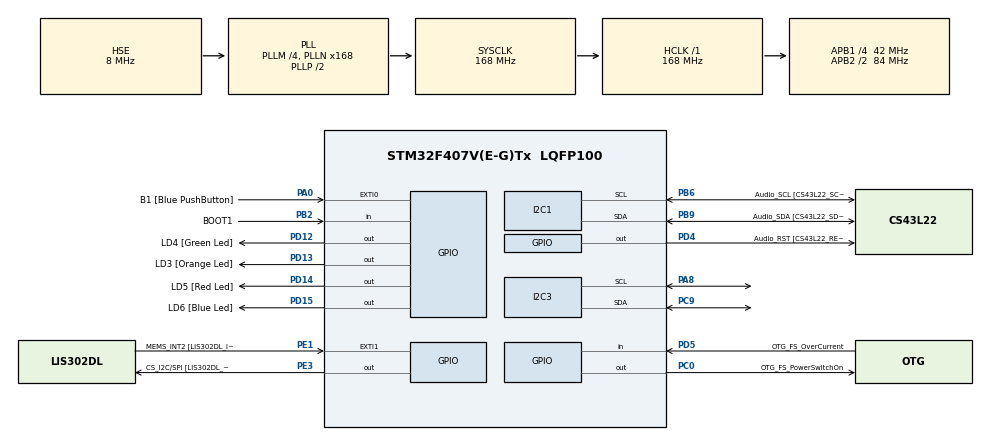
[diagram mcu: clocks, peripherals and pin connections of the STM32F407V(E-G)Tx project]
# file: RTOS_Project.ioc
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FREERTOS.Tasks01=readSensor,-2,1024,initSensorRead,Default,NULL,Dynamic,NULL,NULL;writeDisplay,-2,512,initDisplayWrite,Default,NULL,Dynamic,NULL,NULL
FREERTOS.configUSE_NEWLIB_REENTRANT=1
Mcu.Family=STM32F4
Mcu.Name=STM32F407V(E-G)Tx
Mcu.Package=LQFP100
NVIC.PriorityGroup=NVIC_PRIORITYGROUP_4
NVIC.TIM1_UP_TIM10_IRQn=true\:15\:0\:false\:false\:true\:false\:false\:true\:true
NVIC.TimeBase=TIM1_UP_TIM10_IRQn
NVIC.TimeBaseIP=TIM1
PA0-WKUP.GPIO_Label=B1 [Blue PushButton]
PA0-WKUP.Signal=GPXTI0
PA10.GPIO_Label=OTG_FS_ID
PA10.GPIO_Mode=GPIO_MODE_AF_PP
PA10.GPIO_PuPd=GPIO_NOPULL
PA10.GPIO_Speed=GPIO_SPEED_FREQ_LOW
PA10.Signal=USB_OTG_FS_ID
PA11.GPIO_Label=OTG_FS_DM
PA11.GPIO_Mode=GPIO_MODE_AF_PP
PA11.GPIO_PuPd=GPIO_NOPULL
PA11.GPIO_Speed=GPIO_SPEED_FREQ_LOW
PA11.Signal=USB_OTG_FS_DM
PA12.GPIO_Label=OTG_FS_DP
PA12.GPIO_Mode=GPIO_MODE_AF_PP
PA12.GPIO_PuPd=GPIO_NOPULL
PA12.GPIO_Speed=GPIO_SPEED_FREQ_LOW
PA12.Signal=USB_OTG_FS_DP
PA13.GPIO_Label=SWDIO
PA13.Signal=SYS_JTMS-SWDIO
PA14.GPIO_Label=SWCLK
PA14.Signal=SYS_JTCK-SWCLK
PA4.GPIO_Label=I2S3_WS [CS43L22_LRCK]
PA4.GPIO_Mode=GPIO_MODE_AF_PP
PA4.GPIO_PuPd=GPIO_NOPULL
PA4.GPIO_Speed=GPIO_SPEED_FREQ_LOW
PA4.Signal=I2S3_WS
PA5.GPIO_Label=SPI1_SCK [LIS302DL_SCL/SPC]
PA5.GPIO_Mode=GPIO_MODE_AF_PP
PA5.GPIO_PuPd=GPIO_NOPULL
PA5.GPIO_Speed=GPIO_SPEED_FREQ_LOW
PA5.Signal=SPI1_SCK
PA6.GPIO_Label=SPI1_MISO [LIS302DL_SDO]
PA6.GPIO_Mode=GPIO_MODE_AF_PP
PA6.GPIO_PuPd=GPIO_NOPULL
PA6.GPIO_Speed=GPIO_SPEED_FREQ_LOW
PA6.Signal=SPI1_MISO
PA7.GPIO_Label=SPI1_MOSI [LIS302DL_SDA/SDI/SDO]
PA7.GPIO_Mode=GPIO_MODE_AF_PP
PA7.GPIO_PuPd=GPIO_NOPULL
PA7.GPIO_Speed=GPIO_SPEED_FREQ_LOW
PA7.Signal=SPI1_MOSI
PA8.GPIO_Pu=GPIO_PULLUP
PA8.GPIO_Speed=GPIO_SPEED_FREQ_LOW
PA8.Mode=I2C
PA8.Signal=I2C3_SCL
PB10.GPIO_Label=CLK_IN [MP45DT02_CLK]
PB10.GPIO_Mode=GPIO_MODE_AF_PP
PB10.GPIO_PuPd=GPIO_NOPULL
PB10.GPIO_Speed=GPIO_SPEED_FREQ_LOW
PB10.Signal=I2S2_CK
PB2.GPIO_Label=BOOT1
PB2.GPIO_Mode=GPIO_MODE_INPUT
PB2.GPIO_PuPd=GPIO_NOPULL
PB2.Signal=GPIO_Input
PB3.GPIO_Label=SWO
PB3.Signal=SYS_JTDO-SWO
PB6.GPIO_Label=Audio_SCL [CS43L22_SCL]
PB6.GPIO_Mode=GPIO_MODE_AF_OD
PB6.GPIO_Pu=GPIO_PULLUP
PB6.GPIO_PuPd=GPIO_NOPULL
PB6.GPIO_Speed=GPIO_SPEED_FREQ_LOW
PB6.Mode=I2C
PB6.Signal=I2C1_SCL
PB9.GPIO_Label=Audio_SDA [CS43L22_SDA]
PB9.GPIO_Mode=GPIO_MODE_AF_OD
PB9.GPIO_Pu=GPIO_PULLUP
PB9.GPIO_PuPd=GPIO_NOPULL
PB9.GPIO_Speed=GPIO_SPEED_FREQ_LOW
PB9.Mode=I2C
PB9.Signal=I2C1_SDA
PC0.GPIO_Label=OTG_FS_PowerSwitchOn
PC0.GPIO_PuPd=GPIO_NOPULL
PC0.GPIO_Speed=GPIO_SPEED_FREQ_LOW
PC0.PinState=GPIO_PIN_SET
PC0.Signal=GPIO_Output
PC10.GPIO_Label=I2S3_SCK [CS43L22_SCLK]
PC10.GPIO_Mode=GPIO_MODE_AF_PP
PC10.GPIO_PuPd=GPIO_NOPULL
PC10.GPIO_Speed=GPIO_SPEED_FREQ_LOW
PC10.Signal=I2S3_CK
PC12.GPIO_Label=I2S3_SD [CS43L22_SDIN]
PC12.GPIO_Mode=GPIO_MODE_AF_PP
PC12.GPIO_PuPd=GPIO_NOPULL
PC12.GPIO_Speed=GPIO_SPEED_FREQ_LOW
PC12.Signal=I2S3_SD
PC14-OSC32_IN.GPIO_Label=PC14-OSC32_IN
PC14-OSC32_IN.Signal=RCC_OSC32_IN
PC15-OSC32_OUT.GPIO_Label=PC15-OSC32_OUT
PC15-OSC32_OUT.Signal=RCC_OSC32_OUT
PC3.GPIO_Label=PDM_OUT [MP45DT02_DOUT]
PC3.GPIO_Mode=GPIO_MODE_AF_PP
PC3.GPIO_PuPd=GPIO_NOPULL
PC3.GPIO_Speed=GPIO_SPEED_FREQ_LOW
PC3.Signal=I2S2_SD
PC7.GPIO_Label=I2S3_MCK [CS43L22_MCLK]
PC7.GPIO_Mode=GPIO_MODE_AF_PP
PC7.GPIO_PuPd=GPIO_NOPULL
PC7.GPIO_Speed=GPIO_SPEED_FREQ_LOW
PC7.Signal=I2S3_MCK
PC9.GPIO_Pu=GPIO_PULLUP
PC9.GPIO_Speed=GPIO_SPEED_FREQ_LOW
PC9.Mode=I2C
PC9.Signal=I2C3_SDA
PD12.GPIO_Label=LD4 [Green Led]
PD12.GPIO_PuPd=GPIO_NOPULL
PD12.GPIO_Speed=GPIO_SPEED_FREQ_LOW
PD12.Signal=GPIO_Output
PD13.GPIO_Label=LD3 [Orange Led]
PD13.GPIO_PuPd=GPIO_NOPULL
PD13.GPIO_Speed=GPIO_SPEED_FREQ_LOW
PD13.Signal=GPIO_Output
PD14.GPIO_Label=LD5 [Red Led]
PD14.GPIO_PuPd=GPIO_NOPULL
PD14.GPIO_Speed=GPIO_SPEED_FREQ_LOW
PD14.Signal=GPIO_Output
PD15.GPIO_Label=LD6 [Blue Led]
PD15.GPIO_PuPd=GPIO_NOPULL
PD15.GPIO_Speed=GPIO_SPEED_FREQ_LOW
PD15.Signal=GPIO_Output
PD4.GPIO_Label=Audio_RST [CS43L22_RESET]
PD4.GPIO_PuPd=GPIO_NOPULL
PD4.GPIO_Speed=GPIO_SPEED_FREQ_LOW
PD4.Signal=GPIO_Output
PD5.GPIO_Label=OTG_FS_OverCurrent
PD5.GPIO_Mode=GPIO_MODE_INPUT
PD5.GPIO_PuPd=GPIO_NOPULL
PD5.Signal=GPIO_Input
PE1.GPIO_Label=MEMS_INT2 [LIS302DL_INT2]
PE1.GPIO_ModeDefaultEXTI=GPIO_MODE_EVT_RISING
PE1.GPIO_PuPd=GPIO_NOPULL
PE1.Signal=GPXTI1
PE3.GPIO_Label=CS_I2C/SPI [LIS302DL_CS_I2C/SPI]
PE3.GPIO_PuPd=GPIO_NOPULL
PE3.GPIO_Speed=GPIO_SPEED_FREQ_LOW
PE3.Signal=GPIO_Output
PH0-OSC_IN.GPIO_Label=PH0-OSC_IN
PH0-OSC_IN.Mode=HSE-External-Oscillator
PH0-OSC_IN.Signal=RCC_OSC_IN
PH1-OSC_OUT.GPIO_Label=PH1-OSC_OUT
PH1-OSC_OUT.Mode=HSE-External-Oscillator
PH1-OSC_OUT.Signal=RCC_OSC_OUT
ProjectManager.HeapSize=0x200
ProjectManager.StackSize=0x400
ProjectManager.TargetToolchain=STM32CubeIDE
RCC.48MHZClocksFreq_Value=48000000
RCC.AHBFreq_Value=168000000
RCC.APB1CLKDivider=RCC_HCLK_DIV4
RCC.APB1Freq_Value=42000000
RCC.APB1TimFreq_Value=84000000
RCC.APB2CLKDivider=RCC_HCLK_DIV2
RCC.APB2Freq_Value=84000000
RCC.APB2TimFreq_Value=168000000
RCC.CortexFreq_Value=168000000
RCC.HCLKFreq_Value=168000000
RCC.HSE_VALUE=8000000
RCC.HSI_VALUE=16000000
RCC.LSE_VALUE=32768
RCC.PLLM=4
RCC.PLLN=168
RCC.PLLQ=7
RCC.PLLSourceVirtual=RCC_PLLSOURCE_HSE
RCC.SYSCLKFreq_VALUE=168000000
RCC.SYSCLKSource=RCC_SYSCLKSOURCE_PLLCLK
RCC.VCOOutputFreq_Value=336000000
VP_FREERTOS_VS_CMSIS_V1.Mode=CMSIS_V1
VP_SYS_VS_tim1.Mode=TIM1
board=STM32F407G-DISC1

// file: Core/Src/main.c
/* USER CODE BEGIN Header */
/**
  ******************************************************************************
  * @file           : main.c
  * @brief          : Main program body
  ******************************************************************************
  * @attention
  *
  * Copyright (c) 2023 STMicroelectronics.
  * All rights reserved.
  *
  * This software is licensed under terms that can be found in the LICENSE file
  * in the root directory of this software component.
  * If no LICENSE file comes with this software, it is provided AS-IS.
  *
  ******************************************************************************
  */
/* USER CODE END Header */
#include "main.h"
#include "cmsis_os.h"
#include <stdio.h>
#include "liquidcrystal_i2c.h"

/* USER CODE BEGIN PD */
#define displayAddress 0x4e
#define LM75_ADDR 0x48
#define LM75_REG_CONF 0x01
#define LM75_REG_TEMP 0x00
/* USER CODE END PD */

I2C_HandleTypeDef hi2c1;
I2C_HandleTypeDef hi2c3;

osThreadId readSensorHandle;
osThreadId writeDisplayHandle;
/* USER CODE BEGIN PV */
uint8_t i2cDataBuffer[12];
char display[32];
int16_t temp;
/* USER CODE END PV */

void SystemClock_Config(void);
static void MX_GPIO_Init(void);
static void MX_I2C1_Init(void);
static void MX_I2C3_Init(void);
void initSensorRead(void const * argument);
void initDisplayWrite(void const * argument);

int main(void)
{

  /* MCU Configuration--------------------------------------------------------*/

  /* Reset of all peripherals, Initializes the Flash interface and the Systick. */
  HAL_Init();

  /* Configure the system clock */
  SystemClock_Config();

  /* Initialize all configured peripherals */
  MX_GPIO_Init();
  MX_I2C1_Init();
  MX_I2C3_Init();

  /* Create the thread(s) */
  /* definition and creation of readSensor */
  osThreadDef(readSensor, initSensorRead, osPriorityLow, 0, 1024);
  readSensorHandle = osThreadCreate(osThread(readSensor), NULL);

  /* definition and creation of writeDisplay */
  osThreadDef(writeDisplay, initDisplayWrite, osPriorityLow, 0, 512);
  writeDisplayHandle = osThreadCreate(osThread(writeDisplay), NULL);

  /* Start scheduler */
  osKernelStart();

  /* We should never get here as control is now taken by the scheduler */
  /* Infinite loop */
  while (1)
  {

  }
}

void SystemClock_Config(void)
{
  RCC_OscInitTypeDef RCC_OscInitStruct = {0};
  RCC_ClkInitTypeDef RCC_ClkInitStruct = {0};

  /** Configure the main internal regulator output voltage
  */
  __HAL_RCC_PWR_CLK_ENABLE();
  __HAL_PWR_VOLTAGESCALING_CONFIG(PWR_REGULATOR_VOLTAGE_SCALE1);

  /** Initializes the RCC Oscillators according to the specified parameters
  * in the RCC_OscInitTypeDef structure.
  */
  RCC_OscInitStruct.OscillatorType = RCC_OSCILLATORTYPE_HSE;
  RCC_OscInitStruct.HSEState = RCC_HSE_ON;
  RCC_OscInitStruct.PLL.PLLState = RCC_PLL_ON;
  RCC_OscInitStruct.PLL.PLLSource = RCC_PLLSOURCE_HSE;
  RCC_OscInitStruct.PLL.PLLM = 4;
  RCC_OscInitStruct.PLL.PLLN = 168;
  RCC_OscInitStruct.PLL.PLLP = RCC_PLLP_DIV2;
  RCC_OscInitStruct.PLL.PLLQ = 7;
  if (HAL_RCC_OscConfig(&RCC_OscInitStruct) != HAL_OK)
  {
    Error_Handler();
  }

  /** Initializes the CPU, AHB and APB buses clocks
  */
  RCC_ClkInitStruct.ClockType = RCC_CLOCKTYPE_HCLK|RCC_CLOCKTYPE_SYSCLK
                              |RCC_CLOCKTYPE_PCLK1|RCC_CLOCKTYPE_PCLK2;
  RCC_ClkInitStruct.SYSCLKSource = RCC_SYSCLKSOURCE_PLLCLK;
  RCC_ClkInitStruct.AHBCLKDivider = RCC_SYSCLK_DIV1;
  RCC_ClkInitStruct.APB1CLKDivider = RCC_HCLK_DIV4;
  RCC_ClkInitStruct.APB2CLKDivider = RCC_HCLK_DIV2;

  if (HAL_RCC_ClockConfig(&RCC_ClkInitStruct, FLASH_LATENCY_5) != HAL_OK)
  {
    Error_Handler();
  }
}

static void MX_I2C1_Init(void)
{

  hi2c1.Instance = I2C1;
  hi2c1.Init.ClockSpeed = 100000;
  hi2c1.Init.DutyCycle = I2C_DUTYCYCLE_2;
  hi2c1.Init.OwnAddress1 = 0;
  hi2c1.Init.AddressingMode = I2C_ADDRESSINGMODE_7BIT;
  hi2c1.Init.DualAddressMode = I2C_DUALADDRESS_DISABLE;
  hi2c1.Init.OwnAddress2 = 0;
  hi2c1.Init.GeneralCallMode = I2C_GENERALCALL_DISABLE;
  hi2c1.Init.NoStretchMode = I2C_NOSTRETCH_DISABLE;
  if (HAL_I2C_Init(&hi2c1) != HAL_OK)
  {
    Error_Handler();
  }

}

static void MX_I2C3_Init(void)
{

  hi2c3.Instance = I2C3;
  hi2c3.Init.ClockSpeed = 100000;
  hi2c3.Init.DutyCycle = I2C_DUTYCYCLE_2;
  hi2c3.Init.OwnAddress1 = 0;
  hi2c3.Init.AddressingMode = I2C_ADDRESSINGMODE_7BIT;
  hi2c3.Init.DualAddressMode = I2C_DUALADDRESS_DISABLE;
  hi2c3.Init.OwnAddress2 = 0;
  hi2c3.Init.GeneralCallMode = I2C_GENERALCALL_DISABLE;
  hi2c3.Init.NoStretchMode = I2C_NOSTRETCH_DISABLE;
  if (HAL_I2C_Init(&hi2c3) != HAL_OK)
  {
    Error_Handler();
  }

}

static void MX_GPIO_Init(void)
{
  GPIO_InitTypeDef GPIO_InitStruct = {0};

  /* GPIO Ports Clock Enable */
  __HAL_RCC_GPIOE_CLK_ENABLE();
  __HAL_RCC_GPIOC_CLK_ENABLE();
  __HAL_RCC_GPIOH_CLK_ENABLE();
  __HAL_RCC_GPIOA_CLK_ENABLE();
  __HAL_RCC_GPIOB_CLK_ENABLE();
  __HAL_RCC_GPIOD_CLK_ENABLE();

  /*Configure GPIO pin Output Level */
  HAL_GPIO_WritePin(CS_I2C_SPI_GPIO_Port, CS_I2C_SPI_Pin, GPIO_PIN_RESET);

  /*Configure GPIO pin Output Level */
  HAL_GPIO_WritePin(OTG_FS_PowerSwitchOn_GPIO_Port, OTG_FS_PowerSwitchOn_Pin, GPIO_PIN_SET);

  /*Configure GPIO pin Output Level */
  HAL_GPIO_WritePin(GPIOD, LD4_Pin|LD3_Pin|LD5_Pin|LD6_Pin
                          |Audio_RST_Pin, GPIO_PIN_RESET);

  /*Configure GPIO pin : CS_I2C_SPI_Pin */
  GPIO_InitStruct.Pin = CS_I2C_SPI_Pin;
  GPIO_InitStruct.Mode = GPIO_MODE_OUTPUT_PP;
  GPIO_InitStruct.Pull = GPIO_NOPULL;
  GPIO_InitStruct.Speed = GPIO_SPEED_FREQ_LOW;
  HAL_GPIO_Init(CS_I2C_SPI_GPIO_Port, &GPIO_InitStruct);

  /*Configure GPIO pin : OTG_FS_PowerSwitchOn_Pin */
  GPIO_InitStruct.Pin = OTG_FS_PowerSwitchOn_Pin;
  GPIO_InitStruct.Mode = GPIO_MODE_OUTPUT_PP;
  GPIO_InitStruct.Pull = GPIO_NOPULL;
  GPIO_InitStruct.Speed = GPIO_SPEED_FREQ_LOW;
  HAL_GPIO_Init(OTG_FS_PowerSwitchOn_GPIO_Port, &GPIO_InitStruct);

  /*Configure GPIO pin : PDM_OUT_Pin */
  GPIO_InitStruct.Pin = PDM_OUT_Pin;
  GPIO_InitStruct.Mode = GPIO_MODE_AF_PP;
  GPIO_InitStruct.Pull = GPIO_NOPULL;
  GPIO_InitStruct.Speed = GPIO_SPEED_FREQ_LOW;
  GPIO_InitStruct.Alternate = GPIO_AF5_SPI2;
  HAL_GPIO_Init(PDM_OUT_GPIO_Port, &GPIO_InitStruct);

  /*Configure GPIO pin : B1_Pin */
  GPIO_InitStruct.Pin = B1_Pin;
  GPIO_InitStruct.Mode = GPIO_MODE_IT_RISING;
  GPIO_InitStruct.Pull = GPIO_NOPULL;
  HAL_GPIO_Init(B1_GPIO_Port, &GPIO_InitStruct);

  /*Configure GPIO pin : I2S3_WS_Pin */
  GPIO_InitStruct.Pin = I2S3_WS_Pin;
  GPIO_InitStruct.Mode = GPIO_MODE_AF_PP;
  GPIO_InitStruct.Pull = GPIO_NOPULL;
  GPIO_InitStruct.Speed = GPIO_SPEED_FREQ_LOW;
  GPIO_InitStruct.Alternate = GPIO_AF6_SPI3;
  HAL_GPIO_Init(I2S3_WS_GPIO_Port, &GPIO_InitStruct);

  /*Configure GPIO pins : SPI1_SCK_Pin SPI1_MISO_Pin SPI1_MOSI_Pin */
  GPIO_InitStruct.Pin = SPI1_SCK_Pin|SPI1_MISO_Pin|SPI1_MOSI_Pin;
  GPIO_InitStruct.Mode = GPIO_MODE_AF_PP;
  GPIO_InitStruct.Pull = GPIO_NOPULL;
  GPIO_InitStruct.Speed = GPIO_SPEED_FREQ_LOW;
  GPIO_InitStruct.Alternate = GPIO_AF5_SPI1;
  HAL_GPIO_Init(GPIOA, &GPIO_InitStruct);

  /*Configure GPIO pin : BOOT1_Pin */
  GPIO_InitStruct.Pin = BOOT1_Pin;
  GPIO_InitStruct.Mode = GPIO_MODE_INPUT;
  GPIO_InitStruct.Pull = GPIO_NOPULL;
  HAL_GPIO_Init(BOOT1_GPIO_Port, &GPIO_InitStruct);

  /*Configure GPIO pin : CLK_IN_Pin */
  GPIO_InitStruct.Pin = CLK_IN_Pin;
  GPIO_InitStruct.Mode = GPIO_MODE_AF_PP;
  GPIO_InitStruct.Pull = GPIO_NOPULL;
  GPIO_InitStruct.Speed = GPIO_SPEED_FREQ_LOW;
  GPIO_InitStruct.Alternate = GPIO_AF5_SPI2;
  HAL_GPIO_Init(CLK_IN_GPIO_Port, &GPIO_InitStruct);

  /*Configure GPIO pins : LD4_Pin LD3_Pin LD5_Pin LD6_Pin
                           Audio_RST_Pin */
  GPIO_InitStruct.Pin = LD4_Pin|LD3_Pin|LD5_Pin|LD6_Pin
                          |Audio_RST_Pin;
  GPIO_InitStruct.Mode = GPIO_MODE_OUTPUT_PP;
  GPIO_InitStruct.Pull = GPIO_NOPULL;
  GPIO_InitStruct.Speed = GPIO_SPEED_FREQ_LOW;
  HAL_GPIO_Init(GPIOD, &GPIO_InitStruct);

  /*Configure GPIO pins : I2S3_MCK_Pin I2S3_SCK_Pin I2S3_SD_Pin */
  GPIO_InitStruct.Pin = I2S3_MCK_Pin|I2S3_SCK_Pin|I2S3_SD_Pin;
  GPIO_InitStruct.Mode = GPIO_MODE_AF_PP;
  GPIO_InitStruct.Pull = GPIO_NOPULL;
  GPIO_InitStruct.Speed = GPIO_SPEED_FREQ_LOW;
  GPIO_InitStruct.Alternate = GPIO_AF6_SPI3;
  HAL_GPIO_Init(GPIOC, &GPIO_InitStruct);

  /*Configure GPIO pins : OTG_FS_ID_Pin OTG_FS_DM_Pin OTG_FS_DP_Pin */
  GPIO_InitStruct.Pin = OTG_FS_ID_Pin|OTG_FS_DM_Pin|OTG_FS_DP_Pin;
  GPIO_InitStruct.Mode = GPIO_MODE_AF_PP;
  GPIO_InitStruct.Pull = GPIO_NOPULL;
  GPIO_InitStruct.Speed = GPIO_SPEED_FREQ_LOW;
  GPIO_InitStruct.Alternate = GPIO_AF10_OTG_FS;
  HAL_GPIO_Init(GPIOA, &GPIO_InitStruct);

  /*Configure GPIO pin : OTG_FS_OverCurrent_Pin */
  GPIO_InitStruct.Pin = OTG_FS_OverCurrent_Pin;
  GPIO_InitStruct.Mode = GPIO_MODE_INPUT;
  GPIO_InitStruct.Pull = GPIO_NOPULL;
  HAL_GPIO_Init(OTG_FS_OverCurrent_GPIO_Port, &GPIO_InitStruct);

  /*Configure GPIO pin : MEMS_INT2_Pin */
  GPIO_InitStruct.Pin = MEMS_INT2_Pin;
  GPIO_InitStruct.Mode = GPIO_MODE_EVT_RISING;
  GPIO_InitStruct.Pull = GPIO_NOPULL;
  HAL_GPIO_Init(MEMS_INT2_GPIO_Port, &GPIO_InitStruct);

}

void initSensorRead(void const * argument)
{
  /* USER CODE BEGIN 5 */
  /* Infinite loop */
  for(;;)
  {
	HAL_GPIO_WritePin(GPIOD, GPIO_PIN_15, 0);
	HAL_GPIO_TogglePin(GPIOD, GPIO_PIN_14);
	i2cDataBuffer[0] = LM75_REG_TEMP;
	if(HAL_I2C_Master_Transmit(&hi2c3, ((uint8_t)LM75_ADDR)<<1, i2cDataBuffer, 1, HAL_MAX_DELAY) == HAL_OK){
		HAL_I2C_Master_Receive(&hi2c3, ((uint8_t)LM75_ADDR)<<1, i2cDataBuffer, 2, HAL_MAX_DELAY);
		int16_t *ptr = &temp;
		*ptr = ((i2cDataBuffer[0] << 8) | i2cDataBuffer[1]);
	}
	else
		HAL_GPIO_WritePin(GPIOD, GPIO_PIN_15, 1);
	osDelay(5000);
  }
  /* USER CODE END 5 */
}

void initDisplayWrite(void const * argument)
{
  /* USER CODE BEGIN initDisplayWrite */
  float tempCelsius;
  float tempFar;

  HD44780_Init(2);
  /* Infinite loop */
  for(;;)
  {
	  HAL_GPIO_TogglePin(GPIOD, GPIO_PIN_13);
	  display[0] = '\0';
	  tempCelsius = temp / 256.0;
	  tempFar = (temp/256.0)*(9.0/5.0)+32.0;

	  HD44780_Clear();
	  HD44780_SetCursor(0,0);
	  sprintf(display, "Far: %.3f", tempFar);
	  HD44780_PrintStr(display);
	  HD44780_SetCursor(0,1);
	  sprintf(display, "Celsius: %.3f", tempCelsius);
	  HD44780_PrintStr(display);
	  osDelay(5000);
  }
  /* USER CODE END initDisplayWrite */
}

void HAL_TIM_PeriodElapsedCallback(TIM_HandleTypeDef *htim)
{
  if (htim->Instance == TIM1) {
    HAL_IncTick();
  }
}

void Error_Handler(void)
{
  __disable_irq();
  while (1)
  {
  }
}
